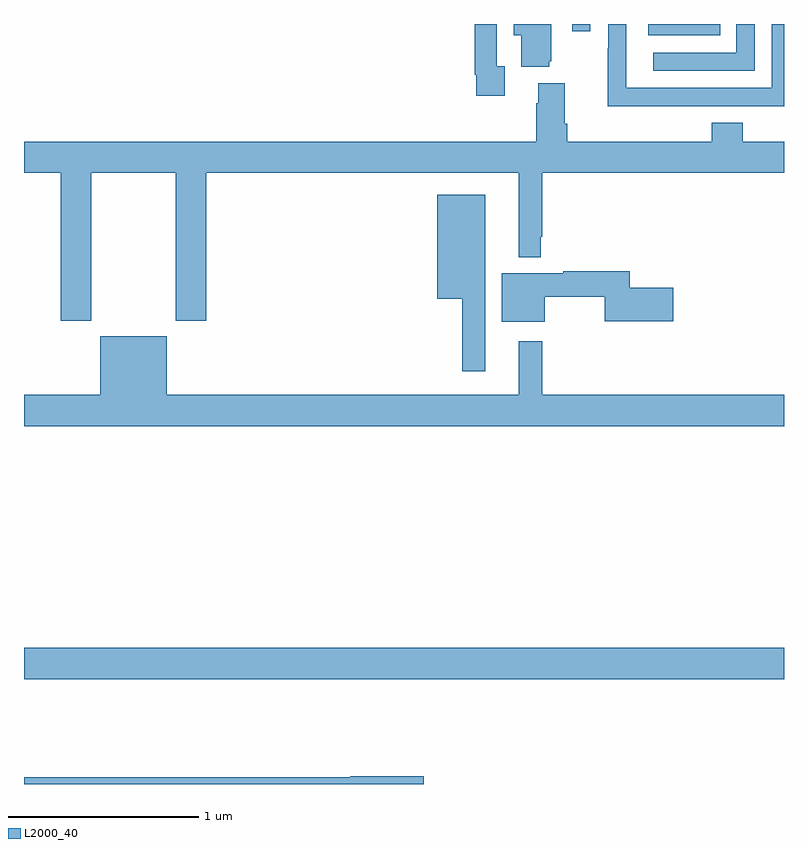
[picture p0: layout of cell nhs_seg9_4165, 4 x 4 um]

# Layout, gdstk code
import gdstk
lib = gdstk.Library(unit=1e-6, precision=1e-09)
def R(c, l, rs):  # rectangles x0, y0, x1, y1
    for r in rs: c.add(gdstk.rectangle(r[:2], r[2:], *l))
def P(c, l, *ps):  # polygons
    for p in ps: c.add(gdstk.Polygon(p, *l))
L2000_40 = (2000, 40)

nhs_seg9_4165 = lib.new_cell('nhs_seg9_4165')
R(nhs_seg9_4165, L2000_40, [(349,1231.052,353,1231.216), (352.286,1234.442,352.664,1234.5), (351.885,1234.461,351.981,1234.5)])
P(nhs_seg9_4165, L2000_40, [(352.535,1234.068),(353,1234.068),(353,1234.5),(352.935,1234.5),(352.935,1234.164),(352.17,1234.164),(352.17,1234.5),(352.074,1234.5),(352.074,1234.373),(352.072,1234.373),(352.072,1234.067),(352.535,1234.067)],
  [(351.529,1234.278),(351.489,1234.278),(351.489,1234.5),(351.373,1234.5),(351.373,1234.234),(351.381,1234.234),(351.381,1234.122),(351.529,1234.122)],
  [(352.845,1234.5),(352.749,1234.5),(352.749,1234.35),(352.311,1234.35),(352.311,1234.254),(352.845,1234.254)],
  [(351.764,1234.305),(351.775,1234.305),(351.775,1234.5),(351.578,1234.5),(351.578,1234.442),(351.617,1234.442),(351.617,1234.274),(351.764,1234.274)],
  [(349.353,1233.716),(349.798,1233.716),(349.798,1232.937),(349.958,1232.937),(349.958,1233.716),(351.605,1233.716),(351.605,1233.272),(351.72,1233.272),(351.72,1233.379),(351.727,1233.379),(351.727,1233.716),(353,1233.716),(353,1233.88),(352.784,1233.88),(352.784,1233.979),(352.619,1233.979),(352.619,1233.88),(351.86,1233.88),(351.86,1233.976),(351.847,1233.976),(351.847,1234.189),(351.707,1234.189),(351.707,1234.082),(351.695,1234.082),(351.695,1233.88),(349,1233.88),(349,1233.716),(349.193,1233.716),(349.193,1232.937),(349.353,1232.937)],
  [(351.427,1233.601),(351.176,1233.601),(351.176,1233.053),(351.306,1233.053),(351.306,1232.673),(351.427,1232.673)],
  [(351.742,1233.064),(352.057,1233.064),(352.057,1232.935),(352.417,1232.935),(352.417,1233.113),(352.187,1233.113),(352.187,1233.2),(351.838,1233.2),(351.838,1233.187),(351.515,1233.187),(351.515,1232.933),(351.742,1232.933)],
  [(353,1232.548),(351.727,1232.548),(351.727,1232.83),(351.605,1232.83),(351.605,1232.548),(349.75,1232.548),(349.75,1232.857),(349.4,1232.857),(349.4,1232.548),(349,1232.548),(349,1232.384),(353,1232.384)],
  [(351.103,1230.542),(350.718,1230.542),(350.718,1230.536),(349,1230.536),(349,1230.5),(351.103,1230.5)])

lib.write_gds('nhs_seg9_4165.gds')
